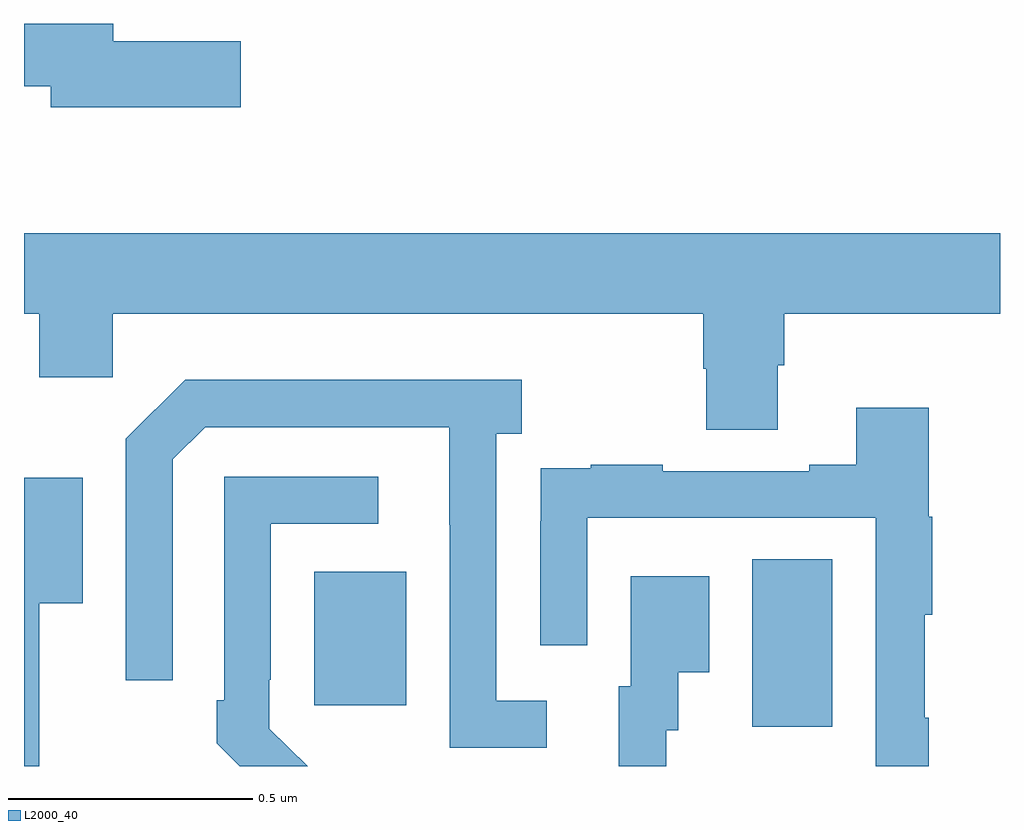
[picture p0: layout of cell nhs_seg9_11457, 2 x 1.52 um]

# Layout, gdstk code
import gdstk
lib = gdstk.Library(unit=1e-6, precision=1e-09)
def R(c, l, rs):  # rectangles x0, y0, x1, y1
    for r in rs: c.add(gdstk.rectangle(r[:2], r[2:], *l))
def P(c, l, *ps):  # polygons
    for p in ps: c.add(gdstk.Polygon(p, *l))
L2000_40 = (2000, 40)

nhs_seg9_11457 = lib.new_cell('nhs_seg9_11457')
R(nhs_seg9_11457, L2000_40, [(257.492,1187.581,257.656,1187.924), (256.595,1187.625,256.783,1187.899)])
P(nhs_seg9_11457, L2000_40, [(256.444,1188.986),(256.183,1188.986),(256.183,1189.022),(256,1189.022),(256,1188.894),(256.055,1188.894),(256.055,1188.851),(256.444,1188.851)],
  [(257.545,1188.322),(257.558,1188.322),(257.558,1188.428),(258,1188.428),(258,1188.592),(256,1188.592),(256,1188.428),(256.031,1188.428),(256.031,1188.297),(256.182,1188.297),(256.182,1188.428),(257.392,1188.428),(257.392,1188.315),(257.398,1188.315),(257.398,1188.19),(257.545,1188.19)],
  [(257.071,1187.634),(256.968,1187.634),(256.968,1188.182),(257.02,1188.182),(257.02,1188.292),(256.33,1188.292),(256.209,1188.171),(256.209,1187.676),(256.305,1187.676),(256.305,1188.129),(256.371,1188.195),(256.871,1188.195),(256.871,1187.995),(256.872,1187.995),(256.872,1187.538),(257.071,1187.538)],
  [(257.854,1187.6),(257.846,1187.6),(257.846,1187.811),(257.861,1187.811),(257.861,1188.012),(257.854,1188.012),(257.854,1188.235),(257.705,1188.235),(257.705,1188.118),(257.609,1188.118),(257.609,1188.105),(257.309,1188.105),(257.309,1188.118),(257.161,1188.118),(257.161,1188.111),(257.059,1188.111),(257.059,1188.002),(257.058,1188.002),(257.058,1187.748),(257.154,1187.748),(257.154,1188.009),(257.745,1188.009),(257.745,1187.5),(257.854,1187.5)],
  [(256.503,1187.577),(256.503,1187.677),(256.506,1187.677),(256.506,1187.997),(256.726,1187.997),(256.726,1188.093),(256.41,1188.093),(256.41,1187.635),(256.395,1187.635),(256.395,1187.547),(256.442,1187.5),(256.581,1187.5)],
  [(256.031,1187.834),(256.12,1187.834),(256.12,1188.091),(256,1188.091),(256,1187.5),(256.031,1187.5)],
  [(257.316,1187.574),(257.341,1187.574),(257.341,1187.693),(257.404,1187.693),(257.404,1187.89),(257.243,1187.89),(257.243,1187.664),(257.219,1187.664),(257.219,1187.5),(257.316,1187.5)])

lib.write_gds('nhs_seg9_11457.gds')
